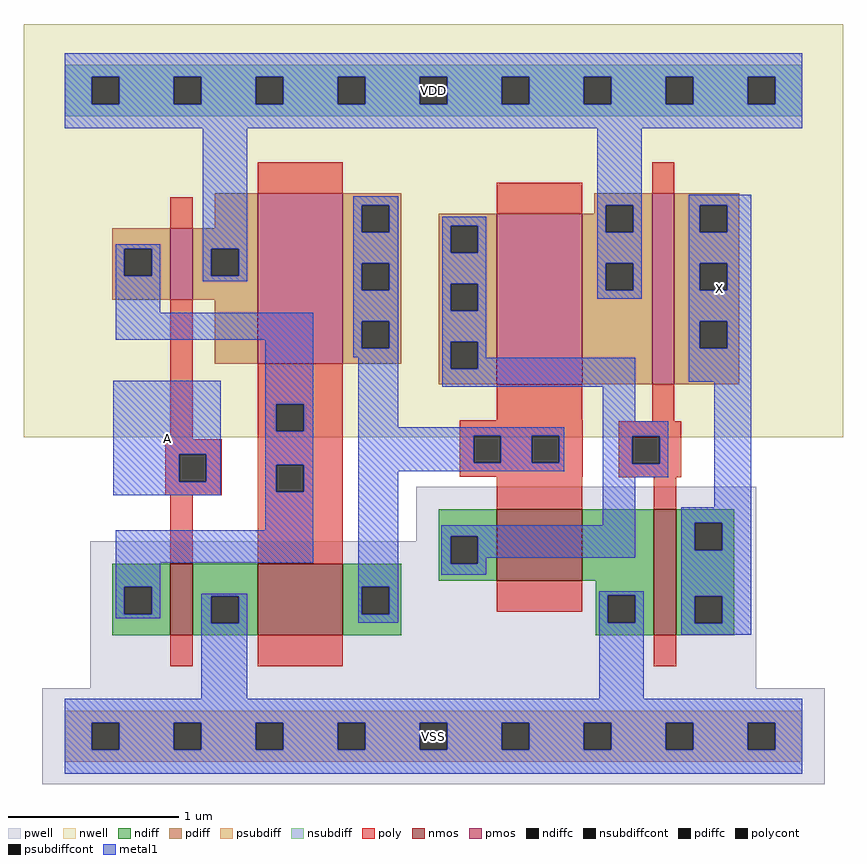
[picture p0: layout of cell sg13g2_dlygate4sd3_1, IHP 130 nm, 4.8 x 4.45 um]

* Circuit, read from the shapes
.subckt sg13g2_dlygate4sd3_1 A VDD VSS X
XM1 VSS A n1 VSS sg13_lv_nmos w=0.42u l=0.13u
XM2 n2 n1 VSS VSS sg13_lv_nmos w=0.42u l=0.5u
XM3 VSS n2 n3 VSS sg13_lv_nmos w=0.42u l=0.5u
XM4 X n3 VSS VSS sg13_lv_nmos w=0.74u l=0.13u
XM5 VDD A n1 VDD sg13_lv_pmos w=0.42u l=0.13u
XM6 n2 n1 VDD VDD sg13_lv_pmos w=1u l=0.5u
XM7 VDD n2 n3 VDD sg13_lv_pmos w=1u l=0.5u
XM8 X n3 VDD VDD sg13_lv_pmos w=1.12u l=0.13u
.ends

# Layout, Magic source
magic
tech ihp-sg13g2
magscale 1 2
<< nwell >>
rect -48 350 912 834
<< pwell >>
rect 412 228 810 292
rect 30 56 810 228
rect -26 -56 890 56
<< nmos >>
rect 124 118 150 202
rect 226 118 326 202
rect 506 182 606 266
rect 690 118 716 266
<< pmos >>
rect 124 511 150 595
rect 226 436 326 636
rect 506 412 606 612
rect 688 412 714 636
<< ndiff >>
rect 438 234 506 266
rect 438 202 452 234
rect 484 202 506 234
rect 56 175 124 202
rect 56 143 70 175
rect 102 143 124 175
rect 56 118 124 143
rect 150 164 226 202
rect 150 132 172 164
rect 204 132 226 164
rect 150 118 226 132
rect 326 175 394 202
rect 438 182 506 202
rect 606 182 690 266
rect 326 143 348 175
rect 380 143 394 175
rect 622 165 690 182
rect 326 118 394 143
rect 622 133 636 165
rect 668 133 690 165
rect 622 118 690 133
rect 716 250 784 266
rect 716 218 738 250
rect 770 218 784 250
rect 716 164 784 218
rect 716 132 738 164
rect 770 132 784 164
rect 716 118 784 132
<< pdiff >>
rect 176 595 226 636
rect 56 571 124 595
rect 56 539 70 571
rect 102 539 124 571
rect 56 511 124 539
rect 150 571 226 595
rect 150 539 172 571
rect 204 539 226 571
rect 150 511 226 539
rect 176 436 226 511
rect 326 622 394 636
rect 326 590 348 622
rect 380 590 394 622
rect 620 622 688 636
rect 620 612 634 622
rect 326 554 394 590
rect 326 522 348 554
rect 380 522 394 554
rect 326 486 394 522
rect 326 454 348 486
rect 380 454 394 486
rect 326 436 394 454
rect 438 598 506 612
rect 438 566 452 598
rect 484 566 506 598
rect 438 530 506 566
rect 438 498 452 530
rect 484 498 506 530
rect 438 462 506 498
rect 438 430 452 462
rect 484 430 506 462
rect 438 412 506 430
rect 606 590 634 612
rect 666 590 688 622
rect 606 554 688 590
rect 606 522 634 554
rect 666 522 688 554
rect 606 412 688 522
rect 714 622 790 636
rect 714 590 744 622
rect 776 590 790 622
rect 714 554 790 590
rect 714 522 744 554
rect 776 522 790 554
rect 714 486 790 522
rect 714 454 744 486
rect 776 454 790 486
rect 714 412 790 454
<< ndiffc >>
rect 452 202 484 234
rect 70 143 102 175
rect 172 132 204 164
rect 348 143 380 175
rect 636 133 668 165
rect 738 218 770 250
rect 738 132 770 164
<< pdiffc >>
rect 70 539 102 571
rect 172 539 204 571
rect 348 590 380 622
rect 348 522 380 554
rect 348 454 380 486
rect 452 566 484 598
rect 452 498 484 530
rect 452 430 484 462
rect 634 590 666 622
rect 634 522 666 554
rect 744 590 776 622
rect 744 522 776 554
rect 744 454 776 486
<< psubdiff >>
rect 0 16 864 30
rect 0 -16 32 16
rect 64 -16 128 16
rect 160 -16 224 16
rect 256 -16 320 16
rect 352 -16 416 16
rect 448 -16 512 16
rect 544 -16 608 16
rect 640 -16 704 16
rect 736 -16 800 16
rect 832 -16 864 16
rect 0 -30 864 -16
<< nsubdiff >>
rect 0 772 864 786
rect 0 740 32 772
rect 64 740 128 772
rect 160 740 224 772
rect 256 740 320 772
rect 352 740 416 772
rect 448 740 512 772
rect 544 740 608 772
rect 640 740 704 772
rect 736 740 800 772
rect 832 740 864 772
rect 0 726 864 740
<< psubdiffcont >>
rect 32 -16 64 16
rect 128 -16 160 16
rect 224 -16 256 16
rect 320 -16 352 16
rect 416 -16 448 16
rect 512 -16 544 16
rect 608 -16 640 16
rect 704 -16 736 16
rect 800 -16 832 16
<< nsubdiffcont >>
rect 32 740 64 772
rect 128 740 160 772
rect 224 740 256 772
rect 320 740 352 772
rect 416 740 448 772
rect 512 740 544 772
rect 608 740 640 772
rect 704 740 736 772
rect 800 740 832 772
<< poly >>
rect 226 636 326 672
rect 124 595 150 631
rect 124 348 150 511
rect 506 612 606 648
rect 688 636 714 672
rect 226 389 326 436
rect 226 357 248 389
rect 280 357 326 389
rect 506 370 606 412
rect 118 330 184 348
rect 118 298 134 330
rect 166 298 184 330
rect 118 282 184 298
rect 226 318 326 357
rect 226 286 248 318
rect 280 286 326 318
rect 463 352 607 370
rect 688 369 714 412
rect 463 320 479 352
rect 511 320 547 352
rect 579 320 607 352
rect 463 304 607 320
rect 649 351 722 369
rect 649 319 665 351
rect 697 319 722 351
rect 124 202 150 282
rect 226 202 326 286
rect 506 266 606 304
rect 649 303 722 319
rect 690 266 716 303
rect 506 146 606 182
rect 124 82 150 118
rect 226 82 326 118
rect 690 82 716 118
<< polycont >>
rect 248 357 280 389
rect 134 298 166 330
rect 248 286 280 318
rect 479 320 511 352
rect 547 320 579 352
rect 665 319 697 351
<< metal1 >>
rect 0 772 864 800
rect 0 740 32 772
rect 64 740 128 772
rect 160 740 224 772
rect 256 740 320 772
rect 352 740 416 772
rect 448 740 512 772
rect 544 740 608 772
rect 640 740 704 772
rect 736 740 800 772
rect 832 740 864 772
rect 0 712 864 740
rect 60 571 112 576
rect 60 539 70 571
rect 102 539 112 571
rect 60 496 112 539
rect 162 571 214 712
rect 162 539 172 571
rect 204 539 214 571
rect 162 533 214 539
rect 338 622 391 632
rect 338 590 348 622
rect 380 590 391 622
rect 624 622 676 712
rect 338 554 391 590
rect 338 522 348 554
rect 380 522 391 554
rect 60 464 291 496
rect 57 330 183 416
rect 57 298 134 330
rect 166 298 183 330
rect 57 282 183 298
rect 235 389 291 464
rect 338 486 391 522
rect 338 454 348 486
rect 380 454 391 486
rect 338 444 391 454
rect 235 357 248 389
rect 280 357 291 389
rect 235 318 291 357
rect 235 286 248 318
rect 280 286 291 318
rect 235 241 291 286
rect 60 203 291 241
rect 344 362 391 444
rect 442 598 494 608
rect 442 566 452 598
rect 484 566 494 598
rect 442 530 494 566
rect 442 498 452 530
rect 484 498 494 530
rect 624 590 634 622
rect 666 590 676 622
rect 624 554 676 590
rect 624 522 634 554
rect 666 522 676 554
rect 624 512 676 522
rect 731 622 804 634
rect 731 590 744 622
rect 776 590 804 622
rect 731 554 804 590
rect 731 522 744 554
rect 776 522 804 554
rect 442 462 494 498
rect 442 430 452 462
rect 484 443 494 462
rect 731 486 804 522
rect 731 454 744 486
rect 776 454 804 486
rect 484 430 668 443
rect 442 409 668 430
rect 731 415 804 454
rect 630 369 668 409
rect 344 352 585 362
rect 344 320 479 352
rect 511 320 547 352
rect 579 320 585 352
rect 344 310 585 320
rect 630 351 707 369
rect 630 319 665 351
rect 697 319 707 351
rect 60 175 112 203
rect 60 143 70 175
rect 102 143 112 175
rect 344 175 391 310
rect 630 303 707 319
rect 630 247 668 303
rect 761 268 804 415
rect 441 234 668 247
rect 441 202 452 234
rect 484 209 668 234
rect 722 250 804 268
rect 722 218 738 250
rect 770 218 804 250
rect 484 202 494 209
rect 441 189 494 202
rect 60 138 112 143
rect 160 164 214 167
rect 160 132 172 164
rect 204 132 214 164
rect 344 143 348 175
rect 380 143 391 175
rect 344 133 391 143
rect 626 165 678 170
rect 626 133 636 165
rect 668 133 678 165
rect 160 44 214 132
rect 626 44 678 133
rect 722 164 804 218
rect 722 132 738 164
rect 770 132 804 164
rect 722 119 804 132
rect 0 16 864 44
rect 0 -16 32 16
rect 64 -16 128 16
rect 160 -16 224 16
rect 256 -16 320 16
rect 352 -16 416 16
rect 448 -16 512 16
rect 544 -16 608 16
rect 640 -16 704 16
rect 736 -16 800 16
rect 832 -16 864 16
rect 0 -44 864 -16
<< labels >>
flabel metal1 s 57 282 183 416 0 FreeSans 400 0 0 0 A
port 2 nsew
flabel metal1 s 0 712 864 800 0 FreeSans 400 0 0 0 VDD
port 3 nsew
flabel metal1 s 0 -44 864 44 0 FreeSans 400 0 0 0 VSS
port 4 nsew
flabel metal1 s 731 415 804 634 0 FreeSans 400 0 0 0 X
port 5 nsew
<< properties >>
string FIXED_BBOX 0 0 864 756
<< end >>
